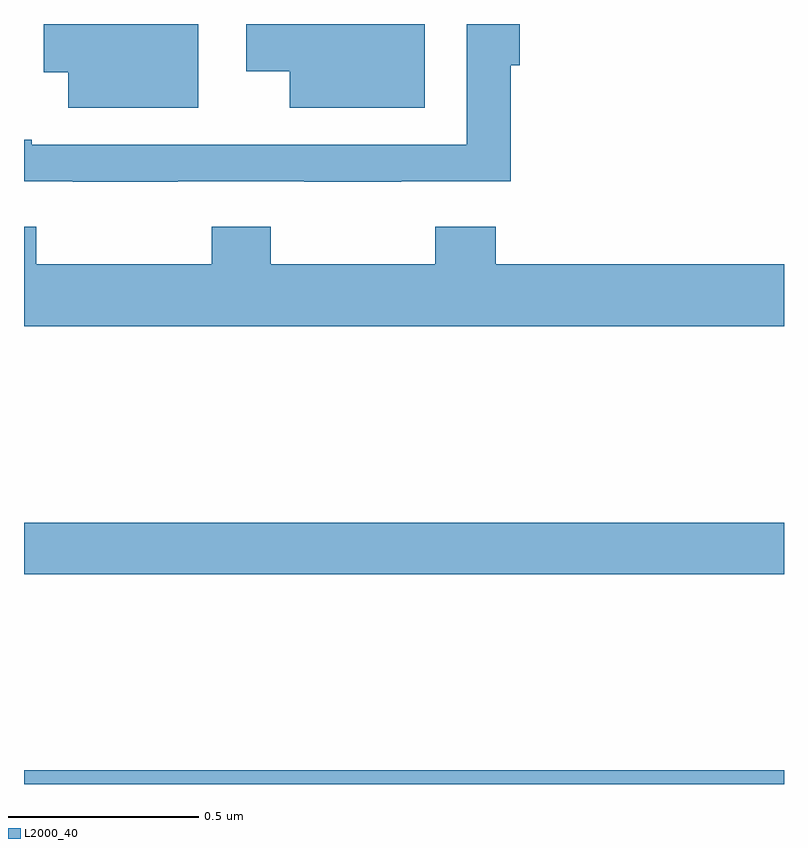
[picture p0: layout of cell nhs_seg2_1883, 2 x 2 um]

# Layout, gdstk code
import gdstk
lib = gdstk.Library(unit=1e-6, precision=1e-09)
def R(c, l, rs):  # rectangles x0, y0, x1, y1
    for r in rs: c.add(gdstk.rectangle(r[:2], r[2:], *l))
def P(c, l, *ps):  # polygons
    for p in ps: c.add(gdstk.Polygon(p, *l))
L2000_40 = (2000, 40)

nhs_seg2_1883 = lib.new_cell('nhs_seg2_1883')
R(nhs_seg2_1883, L2000_40, [(134,611.8,136,611.836), (134,612.352,136,612.488)])
P(nhs_seg2_1883, L2000_40, [(134.458,613.8),(134.052,613.8),(134.052,613.673),(134.117,613.673),(134.117,613.58),(134.458,613.58)],
  [(135.055,613.8),(134.585,613.8),(134.585,613.676),(134.699,613.676),(134.699,613.58),(135.055,613.58)],
  [(134.405,613.386),(134.737,613.386),(134.737,613.385),(134.993,613.385),(134.993,613.386),(135.281,613.386),(135.281,613.691),(135.305,613.691),(135.305,613.8),(135.165,613.8),(135.165,613.482),(134.021,613.482),(134.021,613.495),(134,613.495),(134,613.386),(134.128,613.386),(134.128,613.385),(134.405,613.385)],
  [(136,613.168),(135.242,613.168),(135.242,613.267),(135.082,613.267),(135.082,613.168),(134.649,613.168),(134.649,613.267),(134.494,613.267),(134.494,613.168),(134.032,613.168),(134.032,613.267),(134,613.267),(134,613.004),(136,613.004)])

lib.write_gds('nhs_seg2_1883.gds')
